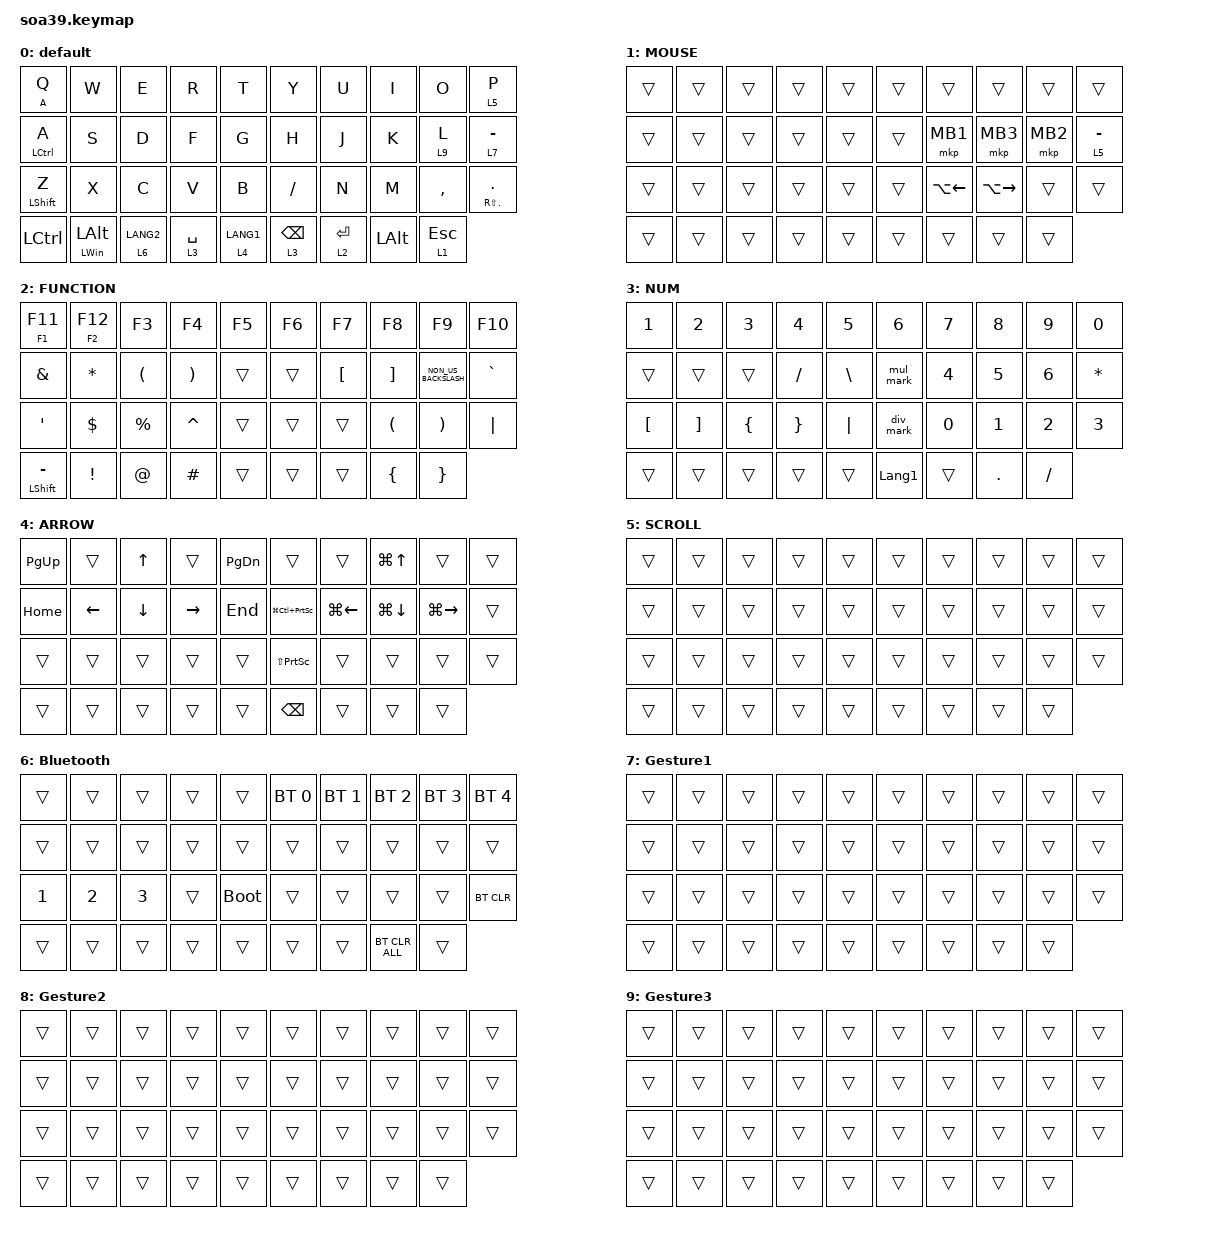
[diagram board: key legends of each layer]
#include <behaviors.dtsi>
#include <dt-bindings/zmk/bt.h>
#include <dt-bindings/zmk/keys.h>
#include <dt-bindings/zmk/pointing.h>

&mt {
    flavor = "balanced";
    quick-tap-ms = <0>;
};

/ {
    combos {
        compatible = "zmk,combos";

        tab {
            bindings = <&kp TAB>;
            key-positions = <9 10>;
        };

        shift_tab {
            bindings = <&kp LS(TAB)>;
            key-positions = <10 11>;
        };

        muhennkann {
            bindings = <&to_layer_0 INT_MUHENKAN>;
            key-positions = <8 7>;
        };

        double_quotation {
            bindings = <&kp DOUBLE_QUOTES>;
            key-positions = <18 19>;
        };

        eq {
            bindings = <&kp EQUAL>;
            key-positions = <22 23>;
        };

        gesture_L8 {
            bindings = <&lt 8 LA(TAB)>;
            key-positions = <8 9>;
        };
    };

    macros {
        to_layer_0: to_layer_0 {
            compatible = "zmk,behavior-macro-one-param";
            #binding-cells = <1>;
            bindings = <&to 0 &macro_param_1to1 &kp MACRO_PLACEHOLDER>;
            label = "TO_LAYER_0";
        };

        mul_mark: mul_mark {
            compatible = "zmk,behavior-macro";
            #binding-cells = <0>;
            bindings =
                <&macro_press>,
                <&kp LALT>,
                <&macro_tap>,
                <&kp KP_N0 &kp KP_N2 &kp KP_N1 &kp KP_N5>,
                <&macro_release>,
                <&kp LEFT_ALT>;

            label = "MUL_MARK";
        };

        div_mark: div_mark {
            compatible = "zmk,behavior-macro";
            #binding-cells = <0>;
            bindings =
                <&macro_press>,
                <&kp LEFT_ALT>,
                <&macro_tap>,
                <&kp KP_N0 &kp KP_N2 &kp KP_N4 &kp KP_N7>,
                <&macro_release>,
                <&kp LEFT_ALT>;

            label = "DIV_MARK";
        };
    };

    behaviors {
        lt_to_layer_0: lt_to_layer_0 {
            compatible = "zmk,behavior-hold-tap";
            label = "LAYER_TAP_TO_0";
            bindings = <&mo>, <&to_layer_0>;

            #binding-cells = <2>;
            tapping-term-ms = <200>;
        };
    };

    keymap {
        compatible = "zmk,keymap";

        default {
            bindings = <
&mt A Q             &kp W                  &kp E        &kp R        &kp T                   &kp Y            &kp U        &kp I         &kp O         &lt 5 P
&mt LEFT_CONTROL A  &kp S                  &kp D        &kp F        &kp G                   &kp H            &kp J        &kp K         &lt 9 L       &lt 7 MINUS
&mt LEFT_SHIFT Z    &kp X                  &kp C        &kp V        &kp B                   &kp SLASH        &kp N        &kp M         &kp COMMA     &mt RS(PERIOD) PERIOD
&kp LEFT_CONTROL    &mt LEFT_WIN LEFT_ALT  &lt 6 LANG2  &lt 3 SPACE  &lt_to_layer_0 4 LANG1  &lt 3 BACKSPACE  &lt 2 ENTER  &kp LEFT_ALT  &lt 1 ESCAPE
            >;
        };

        MOUSE {
            bindings = <
&trans  &trans  &trans  &trans  &trans  &trans  &trans              &trans               &trans    &trans
&trans  &trans  &trans  &trans  &trans  &trans  &mkp MB1            &mkp MB3             &mkp MB2  &lt 5 MINUS
&trans  &trans  &trans  &trans  &trans  &trans  &kp LA(LEFT_ARROW)  &kp LA(RIGHT_ARROW)  &trans    &trans
&trans  &trans  &trans  &trans  &trans  &trans  &trans              &trans               &trans
            >;
        };

        FUNCTION {
            bindings = <
&mt F1 F11            &mt F2 F12       &kp F3       &kp F4     &kp F5  &kp F6  &kp F7            &kp F8                &kp F9                 &kp F10
&kp AMPERSAND         &kp ASTRK        &kp LPAR     &kp RPAR   &trans  &trans  &kp LEFT_BRACKET  &kp RIGHT_BRACKET     &kp NON_US_BACKSLASH   &kp GRAVE
&kp SQT               &kp DOLLAR       &kp PERCENT  &kp CARET  &trans  &trans  &trans            &kp LEFT_PARENTHESIS  &kp RIGHT_PARENTHESIS  &kp PIPE
&mt LEFT_SHIFT MINUS  &kp EXCLAMATION  &kp AT_SIGN  &kp HASH   &trans  &trans  &trans            &kp LEFT_BRACE        &kp RIGHT_BRACE
            >;
        };

        NUM {
            bindings = <
&kp N1            &kp N2             &kp N3          &kp N4           &kp N5         &kp N6          &kp N7  &kp N8      &kp N9     &kp N0
&trans            &trans             &trans          &kp SLASH        &kp BACKSLASH  &mul_mark       &kp N4  &kp N5      &kp N6     &kp ASTERISK
&kp LEFT_BRACKET  &kp RIGHT_BRACKET  &kp LEFT_BRACE  &kp RIGHT_BRACE  &kp PIPE       &div_mark       &kp N0  &kp N1      &kp N2     &kp N3
&trans            &trans             &trans          &trans           &trans         &kp LANGUAGE_1  &trans  &kp PERIOD  &kp SLASH
            >;
        };

        ARROW {
            bindings = <
&kp PG_UP  &trans    &kp UP    &trans     &kp PG_DN  &trans             &trans              &kp LG(UP_ARROW)    &trans               &trans
&kp HOME   &kp LEFT  &kp DOWN  &kp RIGHT  &kp END    &kp LG(LC(PSCRN))  &kp LG(LEFT_ARROW)  &kp LG(DOWN_ARROW)  &kp LG(RIGHT_ARROW)  &trans
&trans     &trans    &trans    &trans     &trans     &kp LS(PSCRN)      &trans              &trans              &trans               &trans
&trans     &trans    &trans    &trans     &trans     &kp BACKSPACE      &trans              &trans              &trans
            >;
        };

        SCROLL {
            bindings = <
&trans  &trans  &trans  &trans  &trans  &trans  &trans  &trans  &trans  &trans
&trans  &trans  &trans  &trans  &trans  &trans  &trans  &trans  &trans  &trans
&trans  &trans  &trans  &trans  &trans  &trans  &trans  &trans  &trans  &trans
&trans  &trans  &trans  &trans  &trans  &trans  &trans  &trans  &trans
            >;
        };

        Bluetooth {
            bindings = <
&trans        &trans        &trans        &trans  &trans       &bt BT_SEL 0  &bt BT_SEL 1  &bt BT_SEL 2    &bt BT_SEL 3  &bt BT_SEL 4
&trans        &trans        &trans        &trans  &trans       &trans        &trans        &trans          &trans        &trans
&kp NUMBER_1  &kp NUMBER_2  &kp NUMBER_3  &trans  &bootloader  &trans        &trans        &trans          &trans        &bt BT_CLR
&trans        &trans        &trans        &trans  &trans       &trans        &trans        &bt BT_CLR_ALL  &trans
            >;
        };

        Gesture1 {
            bindings = <
&trans  &trans  &trans  &trans  &trans  &trans  &trans  &trans  &trans  &trans
&trans  &trans  &trans  &trans  &trans  &trans  &trans  &trans  &trans  &trans
&trans  &trans  &trans  &trans  &trans  &trans  &trans  &trans  &trans  &trans
&trans  &trans  &trans  &trans  &trans  &trans  &trans  &trans  &trans
            >;
        };

        Gesture2 {
            bindings = <
&trans  &trans  &trans  &trans  &trans  &trans  &trans  &trans  &trans  &trans
&trans  &trans  &trans  &trans  &trans  &trans  &trans  &trans  &trans  &trans
&trans  &trans  &trans  &trans  &trans  &trans  &trans  &trans  &trans  &trans
&trans  &trans  &trans  &trans  &trans  &trans  &trans  &trans  &trans
            >;
        };

        Gesture3 {
            bindings = <
&trans  &trans  &trans  &trans  &trans  &trans  &trans  &trans  &trans  &trans
&trans  &trans  &trans  &trans  &trans  &trans  &trans  &trans  &trans  &trans
&trans  &trans  &trans  &trans  &trans  &trans  &trans  &trans  &trans  &trans
&trans  &trans  &trans  &trans  &trans  &trans  &trans  &trans  &trans
            >;
        };
    };
};
